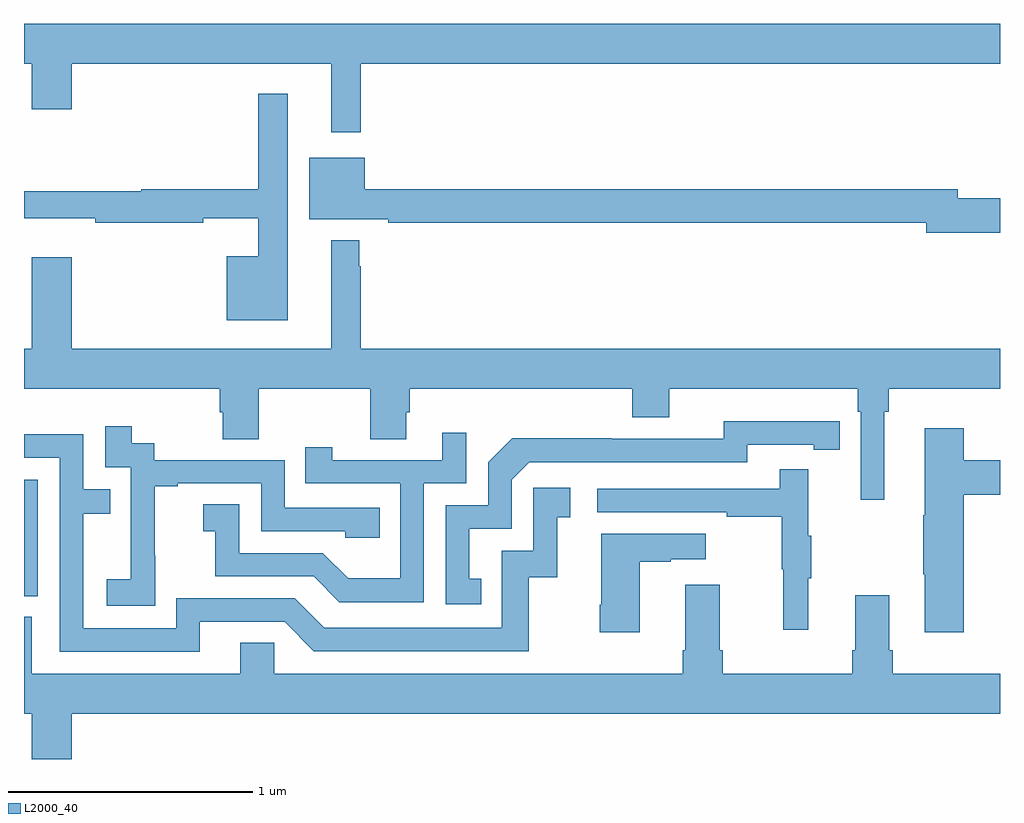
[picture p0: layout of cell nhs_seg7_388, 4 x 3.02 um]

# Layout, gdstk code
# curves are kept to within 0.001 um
import gdstk
lib = gdstk.Library(unit=1e-6, precision=1e-09)
def R(c, l, rs):  # rectangles x0, y0, x1, y1
    for r in rs: c.add(gdstk.rectangle(r[:2], r[2:], *l))
def P(c, l, *ps):  # polygons
    for p in ps: c.add(gdstk.Polygon(p, *l))
L2000_40 = (2000, 40)

nhs_seg7_388 = lib.new_cell('nhs_seg7_388')
R(nhs_seg7_388, L2000_40, [(141,1009.089,141.057,1009.566)])
P(nhs_seg7_388, L2000_40, [(142.381,1011.272),(145,1011.272),(145,1011.436),(141,1011.436),(141,1011.272),(141.032,1011.272),(141.032,1011.084),(141.196,1011.084),(141.196,1011.272),(142.259,1011.272),(142.259,1010.991),(142.381,1010.991)],
  [(142.081,1011.148),(141.96,1011.148),(141.96,1010.756),(141.481,1010.756),(141.481,1010.749),(141,1010.749),(141,1010.639),(141.292,1010.639),(141.292,1010.62),(141.734,1010.62),(141.734,1010.639),(141.96,1010.639),(141.96,1010.482),(141.83,1010.482),(141.83,1010.219),(142.081,1010.219)],
  [(145,1010.72),(144.826,1010.72),(144.826,1010.756),(142.396,1010.756),(142.396,1010.887),(142.169,1010.887),(142.169,1010.633),(142.492,1010.633),(142.492,1010.62),(144.698,1010.62),(144.698,1010.578),(145,1010.578)],
  [(141.803,1009.842),(141.815,1009.842),(141.815,1009.732),(141.963,1009.732),(141.963,1009.94),(142.42,1009.94),(142.42,1009.732),(142.567,1009.732),(142.567,1009.842),(142.58,1009.842),(142.58,1009.94),(143.492,1009.94),(143.492,1009.823),(143.644,1009.823),(143.644,1009.94),(144.416,1009.94),(144.416,1009.844),(144.429,1009.844),(144.429,1009.485),(144.526,1009.485),(144.526,1009.844),(144.545,1009.844),(144.545,1009.94),(145,1009.94),(145,1010.104),(142.381,1010.104),(142.381,1010.441),(142.374,1010.441),(142.374,1010.548),(142.259,1010.548),(142.259,1010.104),(141.196,1010.104),(141.196,1010.479),(141.032,1010.479),(141.032,1010.104),(141,1010.104),(141,1009.94),(141.803,1009.94)],
  [(142.874,1009.161),(142.825,1009.161),(142.825,1009.365),(142.998,1009.365),(142.998,1009.566),(143.07,1009.638),(143.964,1009.638),(143.964,1009.71),(144.236,1009.71),(144.236,1009.69),(144.344,1009.69),(144.344,1009.806),(143.868,1009.807),(143.868,1009.734),(143.408,1009.734),(143.408,1009.736),(143,1009.736),(142.902,1009.638),(142.902,1009.461),(142.728,1009.461),(142.728,1009.056),(142.874,1009.056)],
  [(141.537,1009.255),(141.536,1009.255),(141.536,1009.539),(141.631,1009.539),(141.631,1009.551),(141.972,1009.551),(141.972,1009.356),(142.317,1009.356),(142.317,1009.329),(142.457,1009.329),(142.457,1009.452),(142.068,1009.452),(142.068,1009.647),(141.534,1009.647),(141.534,1009.716),(141.442,1009.716),(141.442,1009.786),(141.333,1009.786),(141.333,1009.617),(141.438,1009.617),(141.438,1009.388),(141.437,1009.388),(141.437,1009.159),(141.339,1009.159),(141.339,1009.049),(141.537,1009.049)],
  [(144.851,1009.505),(145,1009.505),(145,1009.647),(144.851,1009.647),(144.851,1009.777),(144.692,1009.777),(144.692,1009.421),(144.685,1009.421),(144.685,1009.18),(144.692,1009.18),(144.692,1008.942),(144.851,1008.942)],
  [(142.638,1009.551),(142.812,1009.551),(142.812,1009.759),(142.715,1009.759),(142.715,1009.647),(142.264,1009.647),(142.264,1009.699),(142.153,1009.699),(142.153,1009.551),(142.542,1009.551),(142.542,1009.162),(142.328,1009.162),(142.224,1009.266),(141.882,1009.266),(141.882,1009.465),(141.735,1009.465),(141.735,1009.355),(141.784,1009.355),(141.784,1009.17),(142.187,1009.17),(142.292,1009.065),(142.638,1009.065)],
  [(141.721,1008.984),(142.068,1008.984),(142.188,1008.864),(143.068,1008.864),(143.068,1009.167),(143.186,1009.167),(143.186,1009.413),(143.239,1009.413),(143.239,1009.534),(143.088,1009.534),(143.088,1009.275),(142.959,1009.275),(142.959,1008.96),(142.23,1008.96),(142.11,1009.08),(141.624,1009.08),(141.624,1008.957),(141.243,1008.957),(141.243,1009.426),(141.353,1009.426),(141.353,1009.527),(141.243,1009.527),(141.243,1009.752),(141,1009.752),(141,1009.656),(141.147,1009.656),(141.147,1008.861),(141.721,1008.861)],
  [(144.215,1009.163),(144.226,1009.163),(144.226,1009.337),(144.215,1009.337),(144.215,1009.609),(144.097,1009.609),(144.097,1009.53),(143.349,1009.53),(143.349,1009.434),(143.881,1009.434),(143.881,1009.414),(144.105,1009.414),(144.105,1009.2),(144.112,1009.2),(144.112,1008.951),(144.215,1008.951)],
  [(143.524,1009.231),(143.651,1009.231),(143.651,1009.241),(143.794,1009.241),(143.794,1009.345),(143.366,1009.345),(143.366,1009.054),(143.359,1009.054),(143.359,1008.942),(143.524,1008.942)],
  [(141.196,1008.608),(145,1008.608),(145,1008.772),(144.56,1008.772),(144.56,1008.868),(144.547,1008.868),(144.547,1009.093),(144.407,1009.093),(144.407,1008.868),(144.395,1008.868),(144.395,1008.772),(143.864,1008.772),(143.864,1008.868),(143.851,1008.868),(143.851,1009.135),(143.711,1009.135),(143.711,1008.868),(143.699,1008.868),(143.699,1008.772),(142.026,1008.772),(142.026,1008.899),(141.887,1008.899),(141.887,1008.772),(141.031,1008.772),(141.031,1009.004),(141,1009.004),(141,1008.608),(141.032,1008.608),(141.032,1008.42),(141.196,1008.42)])

lib.write_gds('nhs_seg7_388.gds')
